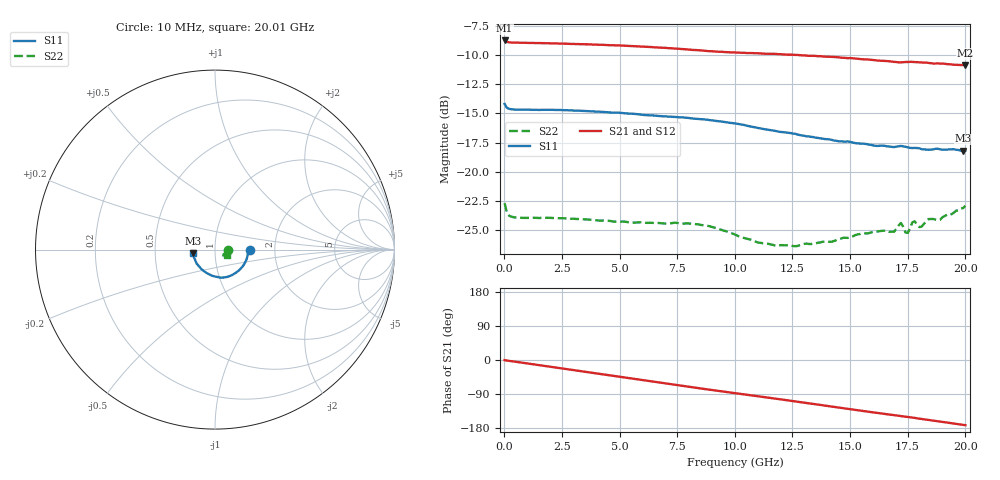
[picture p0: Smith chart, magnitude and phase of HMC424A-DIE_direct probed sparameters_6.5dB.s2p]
!s2p File: Measurements: S11, S21, S12, S22
# GHz S dB R 50.0
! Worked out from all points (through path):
!   201 points, 10 MHz to 20.01 GHz, reference 50 ohm
!   highest |S21| = -8.73 dB at 10 MHz (marker M1); lowest = -10.9 dB at 20.01 GHz (marker M2)
!   group delay of S21, straight-line fit = 23.7 ps
!   lowest |S11| = -18.2 dB at 19.91 GHz (marker M3), VSWR 1.28, Z = 39.2 - j1.62 ohm
!   |S11| at or under -10 dB: start of sweep to end of sweep
!   |S22| runs from -26.4 to -22.7 dB; largest |S21 - S12| = 0.0021
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0.01  -14.18 -0.9  -8.73 -0.4  -8.73 -0.4  -22.70 -1.6
0.11  -14.52 -2.0  -8.86 -1.5  -8.86 -1.5  -23.52 -4.1
0.41  -14.66 -3.4  -8.92 -3.9  -8.91 -3.9  -23.92 -3.2
3.41  -14.78 -23.9  -9.05 -30.5  -9.05 -30.5  -24.09 -13.3
6.71  -15.22 -48.1  -9.34 -59.6  -9.34 -59.6  -24.41 -23.8
8.81  -15.54 -65.0  -9.64 -77.5  -9.64 -77.5  -24.65 -32.6
10.01  -15.86 -75.6  -9.76 -87.3  -9.77 -87.2  -25.40 -36.5
11.81  -16.52 -91.1  -9.89 -102.3  -9.91 -102.2  -26.37 -33.8
13.41  -17.03 -105.0  -10.05 -116.0  -10.07 -115.9  -26.17 -29.9
15.51  -17.59 -124.3  -10.34 -134.0  -10.32 -133.8  -25.30 -28.4
16.71  -17.84 -137.0  -10.52 -143.9  -10.50 -143.8  -25.17 -29.5
16.91  -17.89 -138.7  -10.57 -145.6  -10.52 -145.5  -25.16 -27.7
17.21  -17.79 -141.9  -10.61 -147.8  -10.57 -147.9  -24.41 -29.8
17.41  -17.86 -144.4  -10.58 -149.3  -10.60 -149.6  -25.22 -31.1
17.51  -17.91 -145.3  -10.58 -150.2  -10.60 -150.4  -25.26 -27.1
17.71  -17.97 -146.9  -10.57 -151.9  -10.61 -152.0  -24.35 -26.3
17.81  -17.96 -147.7  -10.59 -152.8  -10.61 -152.8  -24.26 -28.4
18.11  -18.07 -151.3  -10.62 -155.7  -10.66 -155.4  -24.72 -26.1
18.41  -18.12 -154.5  -10.66 -158.2  -10.68 -158.0  -24.07 -26.2
18.91  -18.08 -160.2  -10.72 -162.5  -10.72 -162.2  -24.13 -25.4
19.91  -18.21 -170.5  -10.84 -171.2  -10.85 -171.0  -23.13 -25.2
20.01  -18.20 -171.3  -10.87 -172.0  -10.85 -171.8  -22.94 -25.1
